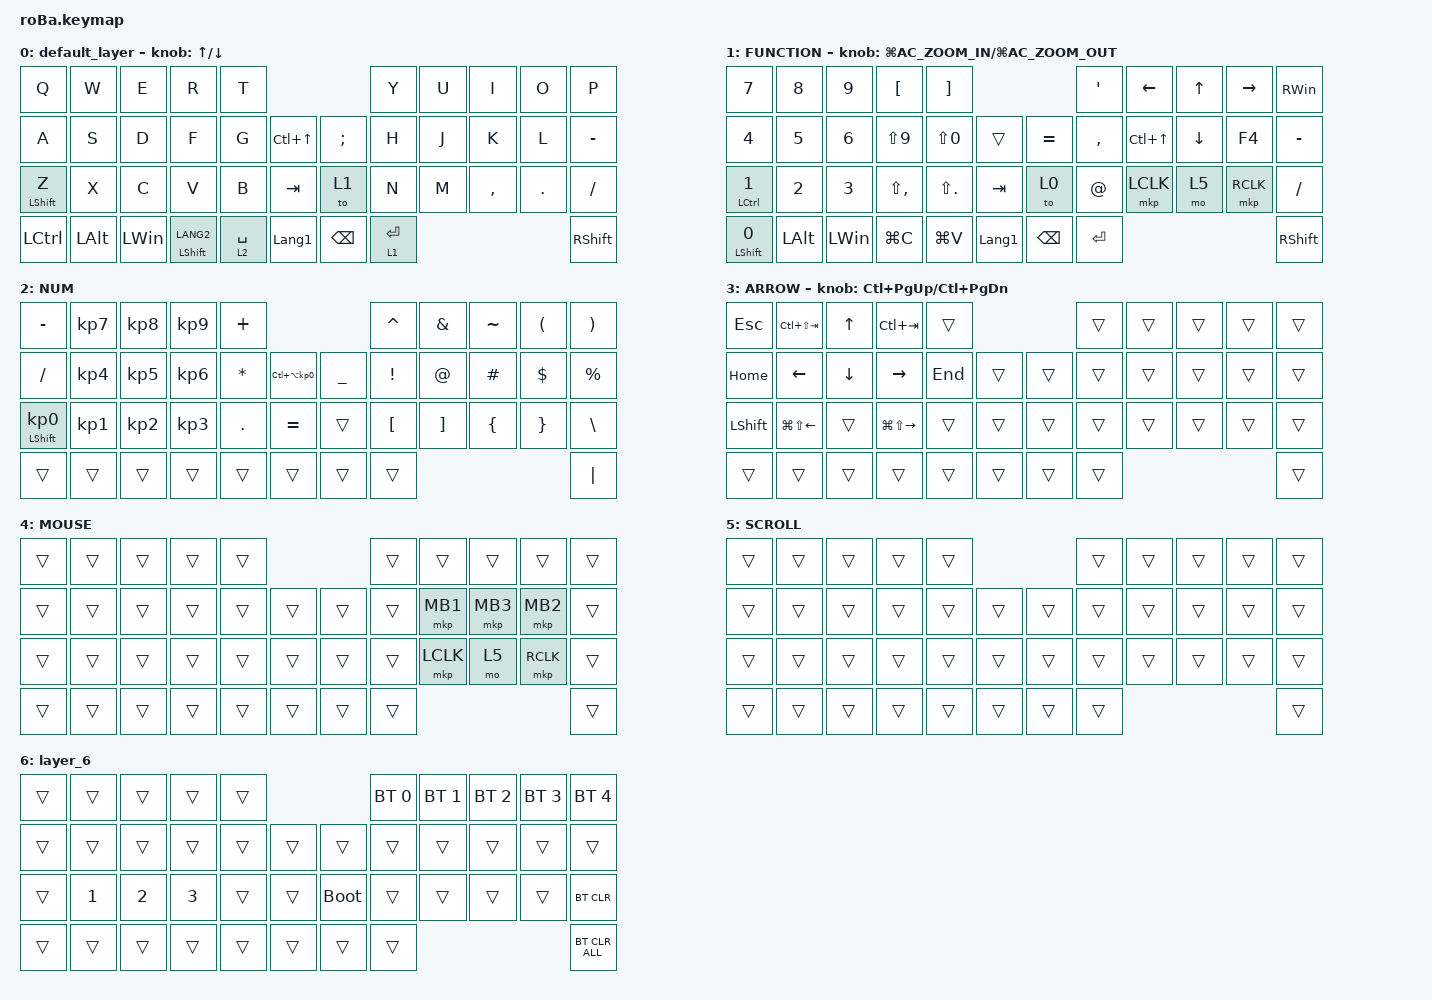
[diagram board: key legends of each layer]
#include <behaviors.dtsi>
#include <dt-bindings/zmk/bt.h>
#include <dt-bindings/zmk/keys.h>
#include <dt-bindings/zmk/pointing.h>

#define MOUSE 4
#define SCROLL 5
#define NUM 6

&mt {
    flavor = "balanced";
    quick-tap-ms = <0>;
};

/ {
    combos {
        compatible = "zmk,combos";

        tab {
            bindings = <&kp TAB>;
            key-positions = <11 12>;
        };

        shift_tab {
            bindings = <&kp LS(TAB)>;
            key-positions = <12 13>;
        };

        muhennkann {
            bindings = <&to_layer_0 INT_MUHENKAN>;
            key-positions = <11 10>;
        };

        double_quotation {
            bindings = <&kp DOUBLE_QUOTES>;
            key-positions = <20 21>;
        };

        eq {
            bindings = <&kp EQUAL>;
            key-positions = <24 25>;
        };
    };

    macros {
        to_layer_0: to_layer_0 {
            compatible = "zmk,behavior-macro-one-param";
            #binding-cells = <1>;
            bindings = <&to 0 &macro_param_1to1 &kp MACRO_PLACEHOLDER>;
            label = "TO_LAYER_0";
        };
    };

    behaviors {
        lt_to_layer_0: lt_to_layer_0 {
            compatible = "zmk,behavior-hold-tap";
            label = "LAYER_TAP_TO_0";
            bindings = <&mo>, <&to_layer_0>;

            #binding-cells = <2>;
            tapping-term-ms = <200>;
        };
    };

    keymap {
        compatible = "zmk,keymap";

        default_layer {
            bindings = <
&kp Q             &kp W         &kp E         &kp R                 &kp T                                             &kp Y        &kp U  &kp I      &kp O    &kp P
&kp A             &kp S         &kp D         &kp F                 &kp G        &kp LC(UP_ARROW)      &kp SEMICOLON  &kp H        &kp J  &kp K      &kp L    &kp MINUS
&mt LEFT_SHIFT Z  &kp X         &kp C         &kp V                 &kp B        &kp TAB               &to 1          &kp N        &kp M  &kp COMMA  &kp DOT  &kp SLASH
&kp LCTRL         &kp LEFT_ALT  &kp LEFT_WIN  &mt LEFT_SHIFT LANG2  &lt 2 SPACE  &kp LANGUAGE_1        &kp BACKSPACE  &lt 1 ENTER                             &kp RIGHT_SHIFT
            >;

            sensor-bindings = <&inc_dec_kp UP DOWN>;
        };

        FUNCTION {
            bindings = <
&kp NUMBER_7             &kp NUMBER_8  &kp NUMBER_9  &kp LEFT_BRACKET  &kp RIGHT_BRACKET                                     &kp SQT      &kp LEFT    &kp UP    &kp RIGHT  &kp RIGHT_WIN
&kp NUMBER_4             &kp N5        &kp NUMBER_6  &kp LS(NUMBER_9)  &kp LS(NUMBER_0)   &trans              &kp EQUAL      &kp COMMA    &kp LC(UP)  &kp DOWN  &kp F4     &kp MINUS
&mt LCTRL NUMBER_1       &kp NUMBER_2  &kp NUMBER_3  &kp LS(COMMA)     &kp LS(PERIOD)     &kp TAB             &to 0          &kp AT_SIGN  &mkp LCLK   &mo 5     &mkp RCLK  &kp SLASH
&mt LEFT_SHIFT NUMBER_0  &kp LEFT_ALT  &kp LEFT_WIN  &kp LG(C)         &kp LG(V)          &kp LANGUAGE_1      &kp BACKSPACE  &kp ENTER                                     &kp RIGHT_SHIFT
            >;

            sensor-bindings = <&inc_dec_kp LG(C_AC_ZOOM_IN) LG(C_AC_ZOOM_OUT)>;
        };

        NUM {
            bindings = <
&kp MINUS                   &kp KP_NUMBER_7  &kp KP_NUMBER_8  &kp KP_NUMBER_9  &kp PLUS                                                   &kp CARET         &kp AMPERSAND      &kp TILDE       &kp LEFT_PARENTHESIS  &kp RIGHT_PARENTHESIS
&kp SLASH                   &kp KP_NUMBER_4  &kp KP_NUMBER_5  &kp KP_NUMBER_6  &kp ASTERISK  &kp LC(LA(KP_NUMBER_0))      &kp UNDERSCORE  &kp EXCLAMATION   &kp AT_SIGN        &kp HASH        &kp DOLLAR            &kp PERCENT
&mt LEFT_SHIFT KP_NUMBER_0  &kp KP_NUMBER_1  &kp KP_NUMBER_2  &kp KP_NUMBER_3  &kp PERIOD    &kp EQUAL                    &trans          &kp LEFT_BRACKET  &kp RIGHT_BRACKET  &kp LEFT_BRACE  &kp RIGHT_BRACE       &kp BACKSLASH
&trans                      &trans           &trans           &trans           &trans        &trans                       &trans          &trans                                                                     &kp PIPE
            >;
        };

        ARROW {
            bindings = <
&kp ESCAPE      &kp LC(LS(TAB))         &kp UP_ARROW    &kp LC(TAB)              &trans                       &trans  &trans  &trans  &trans  &trans
&kp HOME        &kp LEFT_ARROW          &kp DOWN_ARROW  &kp RIGHT_ARROW          &kp END  &trans      &trans  &trans  &trans  &trans  &trans  &trans
&kp LEFT_SHIFT  &kp LG(LS(LEFT_ARROW))  &trans          &kp LG(LS(RIGHT_ARROW))  &trans   &trans      &trans  &trans  &trans  &trans  &trans  &trans
&trans          &trans                  &trans          &trans                   &trans   &trans      &trans  &trans                          &trans
            >;

            sensor-bindings = <&inc_dec_kp LC(PAGE_UP) LC(PAGE_DOWN)>;
        };

        MOUSE {
            bindings = <
&trans  &trans  &trans  &trans  &trans                      &trans  &trans     &trans    &trans     &trans
&trans  &trans  &trans  &trans  &trans  &trans      &trans  &trans  &mkp MB1   &mkp MB3  &mkp MB2   &trans
&trans  &trans  &trans  &trans  &trans  &trans      &trans  &trans  &mkp LCLK  &mo 5     &mkp RCLK  &trans
&trans  &trans  &trans  &trans  &trans  &trans      &trans  &trans                                  &trans
            >;
        };

        SCROLL {
            bindings = <
&trans  &trans  &trans  &trans  &trans                      &trans  &trans  &trans  &trans  &trans
&trans  &trans  &trans  &trans  &trans  &trans      &trans  &trans  &trans  &trans  &trans  &trans
&trans  &trans  &trans  &trans  &trans  &trans      &trans  &trans  &trans  &trans  &trans  &trans
&trans  &trans  &trans  &trans  &trans  &trans      &trans  &trans                          &trans
            >;
        };

        layer_6 {
            bindings = <
&trans  &trans        &trans        &trans        &trans                           &bt BT_SEL 0  &bt BT_SEL 1  &bt BT_SEL 2  &bt BT_SEL 3  &bt BT_SEL 4
&trans  &trans        &trans        &trans        &trans  &trans      &trans       &trans        &trans        &trans        &trans        &trans
&trans  &kp NUMBER_1  &kp NUMBER_2  &kp NUMBER_3  &trans  &trans      &bootloader  &trans        &trans        &trans        &trans        &bt BT_CLR
&trans  &trans        &trans        &trans        &trans  &trans      &trans       &trans                                                  &bt BT_CLR_ALL
            >;
        };
    };
};
